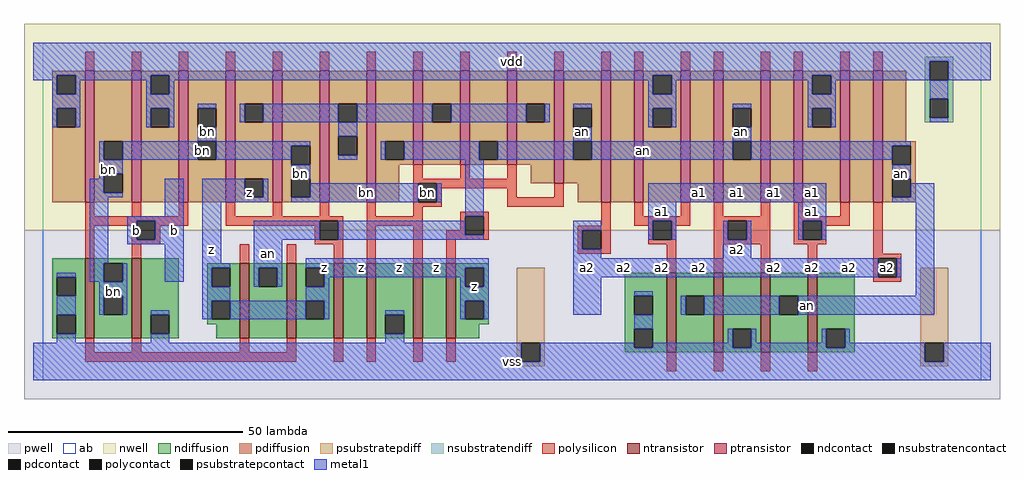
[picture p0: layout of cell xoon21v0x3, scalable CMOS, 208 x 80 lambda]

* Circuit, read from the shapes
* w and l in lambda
.subckt xoon21v0x3 a1 a2 an b bn vdd vss z
M1 bn b vss vss nfet w=17 l=2 m=2
M2 an b z vss nfet w=16 l=2 m=2
M3 n1 an z vss nfet w=16 l=2
M4 vss bn n1 vss nfet w=16 l=2
M5 n2 bn vss vss nfet w=16 l=2
M6 z an n2 vss nfet w=16 l=2
M7 an a1 vss vss nfet w=17 l=2 m=2
M8 vss a2 an vss nfet w=17 l=2 m=2
M9 bn b vdd vdd pfet w=28 l=2 m=3
M10 z an bn vdd pfet w=28 l=2 m=3
M11 an bn z vdd pfet w=28 l=2
M12 z bn an vdd pfet w=20 l=2 m=3
M13 an bn z vdd pfet w=24 l=2
M14 n3 a2 an vdd pfet w=28 l=2
M15 vdd a1 n3 vdd pfet w=28 l=2
M16 n4 a1 vdd vdd pfet w=28 l=2
M17 an a2 n4 vdd pfet w=28 l=2
M18 n5 a2 an vdd pfet w=28 l=2
M19 vdd a1 n5 vdd pfet w=28 l=2
M20 n6 a1 vdd vdd pfet w=28 l=2
M21 an a2 n6 vdd pfet w=28 l=2
.ends

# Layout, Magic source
magic
tech scmos
<< ab >>
rect 0 0 200 72
<< pwell >>
rect -4 -4 204 32
<< nwell >>
rect -4 32 204 76
<< polysilicon >>
rect 9 66 11 70
rect 19 66 21 70
rect 29 66 31 70
rect 39 66 41 70
rect 49 66 51 70
rect 59 66 61 70
rect 69 66 71 70
rect 79 66 81 70
rect 89 66 91 70
rect 99 66 101 70
rect 109 66 111 70
rect 119 66 121 70
rect 126 66 128 70
rect 136 66 138 70
rect 143 66 145 70
rect 153 66 155 70
rect 160 66 162 70
rect 170 66 172 70
rect 177 66 179 70
rect 79 43 81 46
rect 89 43 91 46
rect 99 43 101 46
rect 79 42 101 43
rect 79 38 80 42
rect 84 41 101 42
rect 84 38 85 41
rect 9 35 11 38
rect 19 35 21 38
rect 29 35 31 38
rect 9 34 31 35
rect 9 33 20 34
rect 9 26 11 33
rect 19 30 20 33
rect 24 33 31 34
rect 39 35 41 38
rect 49 35 51 38
rect 59 35 61 38
rect 69 35 71 38
rect 79 37 85 38
rect 99 39 101 41
rect 109 39 111 42
rect 99 37 111 39
rect 79 35 81 37
rect 39 34 64 35
rect 39 33 59 34
rect 24 30 25 33
rect 19 29 25 30
rect 58 30 59 33
rect 63 30 64 34
rect 58 29 64 30
rect 19 26 21 29
rect 42 25 44 29
rect 52 25 54 29
rect 62 25 64 29
rect 69 33 81 35
rect 69 25 71 33
rect 79 25 81 33
rect 89 35 95 36
rect 89 32 90 35
rect 86 31 90 32
rect 94 31 95 35
rect 119 33 121 38
rect 126 35 128 38
rect 136 35 138 38
rect 126 34 138 35
rect 126 33 130 34
rect 86 30 95 31
rect 114 32 121 33
rect 86 25 88 30
rect 114 28 115 32
rect 119 28 121 32
rect 129 30 130 33
rect 134 33 138 34
rect 143 35 145 38
rect 153 35 155 38
rect 143 34 155 35
rect 134 30 135 33
rect 129 29 135 30
rect 114 27 121 28
rect 9 6 11 9
rect 19 6 21 9
rect 42 6 44 9
rect 52 6 54 9
rect 9 4 54 6
rect 62 4 64 9
rect 69 4 71 9
rect 79 4 81 9
rect 86 4 88 9
rect 133 23 135 29
rect 143 30 146 34
rect 150 30 155 34
rect 143 29 155 30
rect 160 35 162 38
rect 170 35 172 38
rect 160 34 172 35
rect 160 30 162 34
rect 166 33 172 34
rect 166 30 167 33
rect 160 29 167 30
rect 143 23 145 29
rect 153 23 155 29
rect 163 23 165 29
rect 177 27 179 38
rect 177 26 183 27
rect 177 22 178 26
rect 182 22 183 26
rect 177 21 183 22
rect 133 2 135 6
rect 143 2 145 6
rect 153 2 155 6
rect 163 2 165 6
<< ndiffusion >>
rect 2 22 9 26
rect 2 18 3 22
rect 7 18 9 22
rect 2 14 9 18
rect 2 10 3 14
rect 7 10 9 14
rect 2 9 9 10
rect 11 25 19 26
rect 11 21 13 25
rect 17 21 19 25
rect 11 18 19 21
rect 11 14 13 18
rect 17 14 19 18
rect 11 9 19 14
rect 21 14 29 26
rect 21 10 23 14
rect 27 10 29 14
rect 35 24 42 25
rect 35 20 36 24
rect 40 20 42 24
rect 35 17 42 20
rect 35 13 36 17
rect 40 13 42 17
rect 35 12 42 13
rect 21 9 29 10
rect 37 9 42 12
rect 44 24 52 25
rect 44 20 46 24
rect 50 20 52 24
rect 44 9 52 20
rect 54 24 62 25
rect 54 20 56 24
rect 60 20 62 24
rect 54 17 62 20
rect 54 13 56 17
rect 60 13 62 17
rect 54 9 62 13
rect 64 9 69 25
rect 71 14 79 25
rect 71 10 73 14
rect 77 10 79 14
rect 71 9 79 10
rect 81 9 86 25
rect 88 24 95 25
rect 88 20 90 24
rect 94 20 95 24
rect 88 17 95 20
rect 88 13 90 17
rect 94 13 95 17
rect 88 12 95 13
rect 88 9 93 12
rect 124 18 133 23
rect 124 14 126 18
rect 130 14 133 18
rect 124 11 133 14
rect 124 7 126 11
rect 130 7 133 11
rect 124 6 133 7
rect 135 18 143 23
rect 135 14 137 18
rect 141 14 143 18
rect 135 6 143 14
rect 145 11 153 23
rect 145 7 147 11
rect 151 7 153 11
rect 145 6 153 7
rect 155 18 163 23
rect 155 14 157 18
rect 161 14 163 18
rect 155 6 163 14
rect 165 11 173 23
rect 165 7 167 11
rect 171 7 173 11
rect 165 6 173 7
<< pdiffusion >>
rect 2 65 9 66
rect 2 61 3 65
rect 7 61 9 65
rect 2 58 9 61
rect 2 54 3 58
rect 7 54 9 58
rect 2 38 9 54
rect 11 51 19 66
rect 11 47 13 51
rect 17 47 19 51
rect 11 44 19 47
rect 11 40 13 44
rect 17 40 19 44
rect 11 38 19 40
rect 21 65 29 66
rect 21 61 23 65
rect 27 61 29 65
rect 21 58 29 61
rect 21 54 23 58
rect 27 54 29 58
rect 21 38 29 54
rect 31 58 39 66
rect 31 54 33 58
rect 37 54 39 58
rect 31 51 39 54
rect 31 47 33 51
rect 37 47 39 51
rect 31 38 39 47
rect 41 59 49 66
rect 41 55 43 59
rect 47 55 49 59
rect 41 43 49 55
rect 41 39 43 43
rect 47 39 49 43
rect 41 38 49 39
rect 51 50 59 66
rect 51 46 53 50
rect 57 46 59 50
rect 51 43 59 46
rect 51 39 53 43
rect 57 39 59 43
rect 51 38 59 39
rect 61 59 69 66
rect 61 55 63 59
rect 67 55 69 59
rect 61 52 69 55
rect 61 48 63 52
rect 67 48 69 52
rect 61 38 69 48
rect 71 51 79 66
rect 71 47 73 51
rect 77 47 79 51
rect 71 46 79 47
rect 81 59 89 66
rect 81 55 83 59
rect 87 55 89 59
rect 81 46 89 55
rect 91 51 99 66
rect 91 47 93 51
rect 97 47 99 51
rect 91 46 99 47
rect 101 59 109 66
rect 101 55 103 59
rect 107 55 109 59
rect 101 46 109 55
rect 71 38 76 46
rect 104 42 109 46
rect 111 58 119 66
rect 111 54 113 58
rect 117 54 119 58
rect 111 51 119 54
rect 111 47 113 51
rect 117 47 119 51
rect 111 42 119 47
rect 114 38 119 42
rect 121 38 126 66
rect 128 65 136 66
rect 128 61 130 65
rect 134 61 136 65
rect 128 58 136 61
rect 128 54 130 58
rect 134 54 136 58
rect 128 38 136 54
rect 138 38 143 66
rect 145 58 153 66
rect 145 54 147 58
rect 151 54 153 58
rect 145 51 153 54
rect 145 47 147 51
rect 151 47 153 51
rect 145 38 153 47
rect 155 38 160 66
rect 162 65 170 66
rect 162 61 164 65
rect 168 61 170 65
rect 162 58 170 61
rect 162 54 164 58
rect 168 54 170 58
rect 162 38 170 54
rect 172 38 177 66
rect 179 51 184 66
rect 179 50 186 51
rect 179 46 181 50
rect 185 46 186 50
rect 179 43 186 46
rect 179 39 181 43
rect 185 39 186 43
rect 179 38 186 39
<< metal1 >>
rect -2 68 202 72
rect -2 65 189 68
rect -2 64 3 65
rect 2 61 3 64
rect 7 64 23 65
rect 7 61 8 64
rect 2 58 8 61
rect 2 54 3 58
rect 7 54 8 58
rect 22 61 23 64
rect 27 64 130 65
rect 27 61 28 64
rect 22 58 28 61
rect 129 61 130 64
rect 134 64 164 65
rect 134 61 135 64
rect 22 54 23 58
rect 27 54 28 58
rect 33 58 37 59
rect 42 55 43 59
rect 47 55 63 59
rect 67 55 83 59
rect 87 55 103 59
rect 107 55 108 59
rect 113 58 117 59
rect 33 51 37 54
rect 63 52 67 55
rect 12 47 13 51
rect 17 47 33 51
rect 37 50 57 51
rect 37 47 53 50
rect 12 44 17 47
rect 12 43 13 44
rect 10 40 13 43
rect 129 58 135 61
rect 163 61 164 64
rect 168 64 189 65
rect 193 64 202 68
rect 168 61 169 64
rect 129 54 130 58
rect 134 54 135 58
rect 147 58 151 59
rect 163 58 169 61
rect 163 54 164 58
rect 168 54 169 58
rect 189 60 193 64
rect 189 55 193 56
rect 113 51 117 54
rect 147 51 151 54
rect 63 47 67 48
rect 72 47 73 51
rect 77 47 93 51
rect 97 47 113 51
rect 117 47 147 51
rect 151 50 185 51
rect 151 47 181 50
rect 53 43 57 46
rect 10 39 17 40
rect 10 25 14 39
rect 26 35 30 43
rect 18 34 30 35
rect 18 30 20 34
rect 24 30 30 34
rect 18 29 30 30
rect 3 22 7 23
rect 10 21 13 25
rect 17 21 18 25
rect 26 21 30 29
rect 34 39 43 43
rect 47 39 48 43
rect 34 38 48 39
rect 57 39 80 42
rect 53 38 80 39
rect 84 38 85 42
rect 34 25 38 38
rect 90 35 94 47
rect 181 43 185 46
rect 45 30 59 34
rect 63 31 90 34
rect 129 38 167 42
rect 185 39 190 42
rect 181 38 190 39
rect 129 34 135 38
rect 161 34 167 38
rect 63 30 94 31
rect 113 32 119 34
rect 34 24 40 25
rect 3 14 7 18
rect 12 18 18 21
rect 12 14 13 18
rect 17 14 18 18
rect 34 20 36 24
rect 45 24 51 30
rect 113 28 115 32
rect 129 30 130 34
rect 134 30 135 34
rect 145 30 146 34
rect 150 30 151 34
rect 161 30 162 34
rect 166 30 167 34
rect 113 26 119 28
rect 145 26 151 30
rect 45 20 46 24
rect 50 20 51 24
rect 56 24 95 26
rect 60 22 90 24
rect 60 20 61 22
rect 34 17 40 20
rect 56 17 61 20
rect 23 14 27 15
rect 3 8 7 10
rect 34 13 36 17
rect 40 13 56 17
rect 60 13 61 17
rect 89 20 90 22
rect 94 20 95 24
rect 89 17 95 20
rect 73 14 77 15
rect 23 8 27 10
rect 89 13 90 17
rect 94 13 95 17
rect 113 22 178 26
rect 182 22 183 26
rect 113 14 119 22
rect 126 18 130 19
rect 186 18 190 38
rect 136 14 137 18
rect 141 14 157 18
rect 161 14 190 18
rect 73 8 77 10
rect 126 11 130 14
rect -2 4 102 8
rect 106 7 126 8
rect 146 8 147 11
rect 130 7 147 8
rect 151 8 152 11
rect 166 8 167 11
rect 151 7 167 8
rect 171 8 172 11
rect 171 7 188 8
rect 106 4 188 7
rect 192 4 202 8
rect -2 0 202 4
<< ntransistor >>
rect 9 9 11 26
rect 19 9 21 26
rect 42 9 44 25
rect 52 9 54 25
rect 62 9 64 25
rect 69 9 71 25
rect 79 9 81 25
rect 86 9 88 25
rect 133 6 135 23
rect 143 6 145 23
rect 153 6 155 23
rect 163 6 165 23
<< ptransistor >>
rect 9 38 11 66
rect 19 38 21 66
rect 29 38 31 66
rect 39 38 41 66
rect 49 38 51 66
rect 59 38 61 66
rect 69 38 71 66
rect 79 46 81 66
rect 89 46 91 66
rect 99 46 101 66
rect 109 42 111 66
rect 119 38 121 66
rect 126 38 128 66
rect 136 38 138 66
rect 143 38 145 66
rect 153 38 155 66
rect 160 38 162 66
rect 170 38 172 66
rect 177 38 179 66
<< polycontact >>
rect 80 38 84 42
rect 20 30 24 34
rect 59 30 63 34
rect 90 31 94 35
rect 115 28 119 32
rect 130 30 134 34
rect 146 30 150 34
rect 162 30 166 34
rect 178 22 182 26
<< ndcontact >>
rect 3 18 7 22
rect 3 10 7 14
rect 13 21 17 25
rect 13 14 17 18
rect 23 10 27 14
rect 36 20 40 24
rect 36 13 40 17
rect 46 20 50 24
rect 56 20 60 24
rect 56 13 60 17
rect 73 10 77 14
rect 90 20 94 24
rect 90 13 94 17
rect 126 14 130 18
rect 126 7 130 11
rect 137 14 141 18
rect 147 7 151 11
rect 157 14 161 18
rect 167 7 171 11
<< pdcontact >>
rect 3 61 7 65
rect 3 54 7 58
rect 13 47 17 51
rect 13 40 17 44
rect 23 61 27 65
rect 23 54 27 58
rect 33 54 37 58
rect 33 47 37 51
rect 43 55 47 59
rect 43 39 47 43
rect 53 46 57 50
rect 53 39 57 43
rect 63 55 67 59
rect 63 48 67 52
rect 73 47 77 51
rect 83 55 87 59
rect 93 47 97 51
rect 103 55 107 59
rect 113 54 117 58
rect 113 47 117 51
rect 130 61 134 65
rect 130 54 134 58
rect 147 54 151 58
rect 147 47 151 51
rect 164 61 168 65
rect 164 54 168 58
rect 181 46 185 50
rect 181 39 185 43
<< psubstratepcontact >>
rect 102 4 106 8
rect 188 4 192 8
<< nsubstratencontact >>
rect 189 64 193 68
rect 189 56 193 60
<< psubstratepdiff >>
rect 101 8 107 24
rect 101 4 102 8
rect 106 4 107 8
rect 187 8 193 24
rect 101 3 107 4
rect 187 4 188 8
rect 192 4 193 8
rect 187 3 193 4
<< nsubstratendiff >>
rect 188 68 194 69
rect 188 64 189 68
rect 193 64 194 68
rect 188 60 194 64
rect 188 56 189 60
rect 193 56 194 60
rect 188 55 194 56
<< labels >>
rlabel polycontact 82 40 82 40 6 bn
rlabel metal1 15 19 15 19 6 bn
rlabel metal1 20 32 20 32 6 b
rlabel metal1 28 32 28 32 6 b
rlabel metal1 14 45 14 45 6 bn
rlabel metal1 35 53 35 53 6 bn
rlabel metal1 60 24 60 24 6 z
rlabel metal1 68 24 68 24 6 z
rlabel metal1 76 24 76 24 6 z
rlabel metal1 48 27 48 27 6 an
rlabel metal1 36 28 36 28 6 z
rlabel pdcontact 44 40 44 40 6 z
rlabel metal1 55 44 55 44 6 bn
rlabel pdcontact 34 49 34 49 6 bn
rlabel metal1 100 4 100 4 6 vss
rlabel metal1 116 24 116 24 6 a2
rlabel metal1 84 24 84 24 6 z
rlabel metal1 92 20 92 20 6 z
rlabel metal1 69 40 69 40 6 bn
rlabel metal1 115 53 115 53 6 an
rlabel metal1 100 68 100 68 6 vdd
rlabel metal1 124 24 124 24 6 a2
rlabel metal1 132 24 132 24 6 a2
rlabel metal1 140 24 140 24 6 a2
rlabel metal1 156 24 156 24 6 a2
rlabel metal1 148 28 148 28 6 a2
rlabel metal1 140 40 140 40 6 a1
rlabel metal1 148 40 148 40 6 a1
rlabel metal1 156 40 156 40 6 a1
rlabel metal1 132 36 132 36 6 a1
rlabel metal1 149 53 149 53 6 an
rlabel metal1 163 16 163 16 6 an
rlabel metal1 164 24 164 24 6 a2
rlabel metal1 172 24 172 24 6 a2
rlabel polycontact 180 24 180 24 6 a2
rlabel metal1 164 36 164 36 6 a1
rlabel metal1 164 40 164 40 6 a1
rlabel metal1 183 44 183 44 6 an
rlabel metal1 128 49 128 49 6 an
<< end >>
